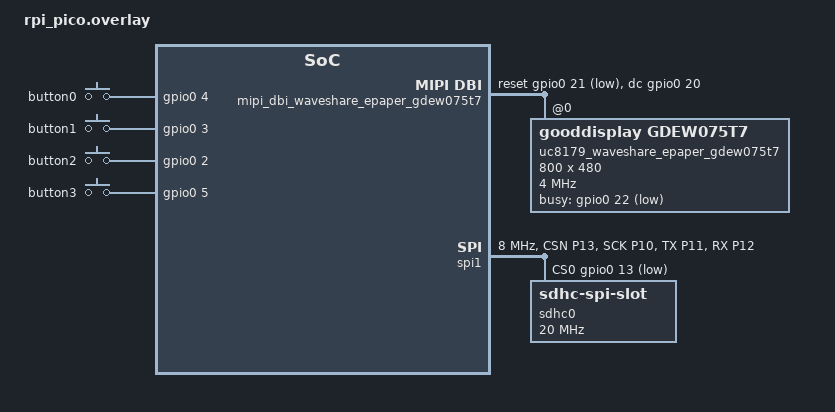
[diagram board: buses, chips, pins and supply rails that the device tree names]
/*
 * SPDX-FileCopyrightText: 2025 Anna-Lena Marx <mail@marx.engineer>
 *
 * SPDX-License-Identifier: MPL-2.0
 */

#include <zephyr/dt-bindings/input/input-event-codes.h>
#include <zephyr/dt-bindings/lvgl/lvgl.h>

/ {

  chosen {
    zephyr,display = &uc8179_waveshare_epaper_gdew075t7;
  };

  mipi_dbi_waveshare_epaper_gdew075t7 {
    compatible = "zephyr,mipi-dbi-spi";
    spi-dev = <&spi0>; //spi@0 -> GPIO 16-19
    dc-gpios = <&gpio0 20 GPIO_ACTIVE_HIGH>;
    reset-gpios = <&gpio0 21 GPIO_ACTIVE_LOW>;
    write-only;
    #address-cells = <1>;
    #size-cells = <0>;

    uc8179_waveshare_epaper_gdew075t7: uc8179@0 {
      compatible = "gooddisplay,gdew075t7", "ultrachip,uc8179";
      mipi-max-frequency = <4000000>;
      reg = <0>;
      width = <800>;
      height = <480>;
      busy-gpios = <&gpio0 22 GPIO_ACTIVE_LOW>;

      softstart = [ 17 17 17  ];

      full {
        pwr = [ 07 07 3f 3f  ];
        // pwr = [ 03 00 36 36 09 ];
        cdi = <0x07>;
        // cdi = <0xd7>;
        tcon = <0x22>;
      };

      partial {
        pwr = [ 03 02 2b 2b ];
				cdi = <0x07>;
				pll = <0x3c>;
				vdcs = <0x08>;

        // Too much artifacts!
        // lutc = [
				// 	00 01 0E 00 00 01
				// 	00 00 00 00 00 00
				// 	00 00 00 00 00 00
				// 	00 00 00 00 00 00
				// 	00 00 00 00 00 00
				// 	00 00 00 00 00 00
				// 	00 00 00 00 00 00
				// 	00 00
				// ];

				// lutww = [
				// 	00 01 0E 00 00 01
				// 	00 00 00 00 00 00
				// 	00 00 00 00 00 00
				// 	00 00 00 00 00 00
				// 	00 00 00 00 00 00
				// 	00 00 00 00 00 00
				// 	00 00 00 00 00 00
				// ];

				// lutkw = [
				// 	20 01 0E 00 00 01
				// 	00 00 00 00 00 00
				// 	00 00 00 00 00 00
				// 	00 00 00 00 00 00
				// 	00 00 00 00 00 00
				// 	00 00 00 00 00 00
				// 	00 00 00 00 00 00
				// ];

				// lutwk = [
				// 	10 01 0E 00 00 01
				// 	00 00 00 00 00 00
				// 	00 00 00 00 00 00
				// 	00 00 00 00 00 00
				// 	00 00 00 00 00 00
				// 	00 00 00 00 00 00
				// 	00 00 00 00 00 00
				// ];

				// lutkk = [
				// 	00 01 0E 00 00 01
				// 	00 00 00 00 00 00
				// 	00 00 00 00 00 00
				// 	00 00 00 00 00 00
				// 	00 00 00 00 00 00
				// 	00 00 00 00 00 00
				// 	00 00 00 00 00 00
				// ];
      };
    };
  };

  keys: keys {
    compatible = "gpio-keys";
    button0: button0 {
      gpios = <&gpio0 4 GPIO_ACTIVE_HIGH>;
      zephyr,code = <INPUT_KEY_0>;
    };

    button1: button1 {
      gpios = <&gpio0 3 GPIO_ACTIVE_HIGH>;
      zephyr,code = <INPUT_KEY_1>;
    };

    button2: button2 {
      gpios = <&gpio0 2 GPIO_ACTIVE_HIGH>;
      zephyr,code = <INPUT_KEY_2>;
    };

    button3: button3 {
      gpios = <&gpio0 5 GPIO_ACTIVE_HIGH>;
      zephyr,code = <INPUT_KEY_3>;
    };
  };

  lvgl_button_input: lvgl_button_input {
    compatible = "zephyr,lvgl-button-input";
    input = <&keys>;
    input-codes = <INPUT_KEY_0 INPUT_KEY_1 INPUT_KEY_2 INPUT_KEY_3>;
    coordinates = <10 470>, <400 470>, <780 470>, <15 470>;
  };
};

// Pinmux defines:
// https://docs.zephyrproject.org/apidoc/latest/rpi-pico-pinctrl-common_8h_source.html
&pinctrl {
  spi1_default: spi1_default {
    group1 {
      pinmux = <SPI1_CSN_P13>, <SPI1_SCK_P10>, <SPI1_TX_P11>;
    };
    group2 {
      pinmux = <SPI1_RX_P12>;
      input-enable;
    };
  };
};

&spi1 {
  clock-frequency = <DT_FREQ_M(8)>;
  status = "okay";
  pinctrl-0 = <&spi1_default>;
  pinctrl-names = "default";

  cs-gpios = <&gpio0 13 GPIO_ACTIVE_LOW>;

  sdhc0: sdhc@0 {
    compatible = "zephyr,sdhc-spi-slot";
    reg = <0>;
    status = "okay";
    mmc {
      compatible = "zephyr,sdmmc-disk";
      disk-name = "SD";
      status = "okay";
    };
    spi-max-frequency = <20000000>;
  };
};

&i2c0 {
  status = "disabled";
};

&i2c1 {
  status = "disabled";
};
